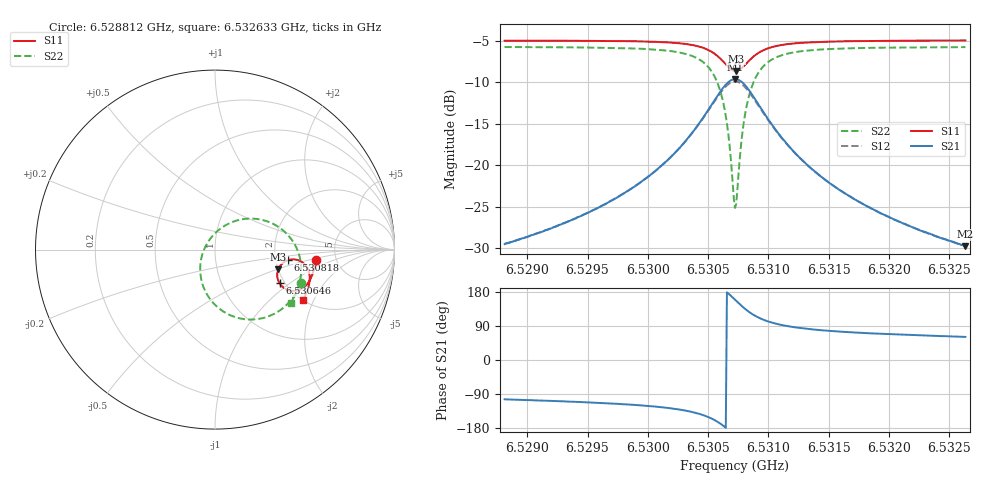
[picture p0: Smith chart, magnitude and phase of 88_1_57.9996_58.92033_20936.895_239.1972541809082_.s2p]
#  HZ  S  RI  R  50.00
! Rohde & Schwarz Vector Network Analyzer
! Rohde-Schwarz,ZNB20-2Port,1311601062101988,3.16
! Created: UTC 3/21/2024, 12:54:10 AM
! freq[Hz]  re:S11  im:S11  re:S21  im:S21  re:S12  im:S12  re:S22  im:S22
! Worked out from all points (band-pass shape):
!   401 points, 6.528812 GHz to 6.532633 GHz, reference 50 ohm
!   highest |S21| = -9.62 dB at 6.530723 GHz (marker M1); lowest = -29.8 dB at 6.532633 GHz (marker M2)
!   |S21| within 3 dB of the highest: 6.530533 GHz to 6.530915 GHz (382.7 kHz wide, 0.00586 % of centre)
!   lowest |S11| = -8.7 dB at 6.530732 GHz (marker M3), VSWR 2.17, Z = 100 - j25.6 ohm
!   |S11| at or under -10 dB: nowhere
!   |S22| runs from -25.1 to -5.7 dB; largest |S21 - S12| = 0.014
!   S11 on the Smith chart (normalised r, x): 6.528812 GHz: 3.48, -0.57; 6.530646 GHz: 1.88, -0.84; 6.530818 GHz: 2.34, -0.33; 6.532633 GHz: 2.02, -1.66
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6.5288124e9  0.5608 -0.056  -0.00789 -0.0326  -0.00866 -0.0324  0.4812 -0.186
6.5294525e9  0.5513 -0.1109  -0.018 -0.0464  -0.0191 -0.046  0.4488 -0.2479
6.5298154e9  0.5402 -0.1463  -0.0312 -0.0613  -0.0328 -0.0605  0.4139 -0.2933
6.5300925e9  0.5238 -0.1783  -0.0538 -0.08  -0.0561 -0.0784  0.3626 -0.3382
6.5303217e9  0.4944 -0.2103  -0.0992 -0.1024  -0.1022 -0.0987  0.271 -0.3806
6.5304841e9  0.4462 -0.2294  -0.1757 -0.1082  -0.1781 -0.1007  0.131 -0.3813
6.5305796e9  0.3966 -0.2211  -0.2527 -0.0755  -0.2512 -0.0645  0.0033 -0.3107
6.5306465e9  0.3598 -0.1878  -0.3062 -0.00669  -0.2985 0.00422  -0.0723 -0.1844
6.5306752e9  0.3497 -0.1645  -0.3177 0.0369  -0.3077 0.0461  -0.0827 -0.11
6.5307134e9  0.3478 -0.1283  -0.3136 0.102  -0.3014 0.107  -0.0629 -0.00433
6.5307229e9  0.3497 -0.1193  -0.3085 0.118  -0.296 0.122  -0.0513 0.0208
6.5307325e9  0.3525 -0.1103  -0.3019 0.1335  -0.2893 0.1362  -0.0375 0.0447
6.530742e9  0.3562 -0.1018  -0.2938 0.148  -0.2814 0.1498  -0.0214 0.067
6.5307802e9  0.379 -0.074  -0.2499 0.1954  -0.2394 0.1933  0.0593 0.1359
6.5308184e9  0.4076 -0.0583  -0.1976 0.221  -0.1901 0.2173  0.1499 0.1687
6.5308853e9  0.4541 -0.0563  -0.1167 0.2243  -0.1128 0.2207  0.2861 0.1589
6.5309808e9  0.4954 -0.0781  -0.0465 0.1921  -0.0446 0.19  0.4 0.088
6.5311241e9  0.5202 -0.1147  -0.00355 0.1426  -0.00235 0.1417  0.4632 -0.0128
6.5313629e9  0.5279 -0.1589  0.015 0.0933  0.0162 0.0931  0.4804 -0.1155
6.531659e9  0.5233 -0.1963  0.0186 0.0633  0.0196 0.0631  0.4712 -0.1855
6.5320029e9  0.5135 -0.2297  0.018 0.0451  0.0189 0.0448  0.4542 -0.2356
6.5326334e9  0.4912 -0.2793  0.0158 0.0284  0.0164 0.0282  0.4217 -0.296
